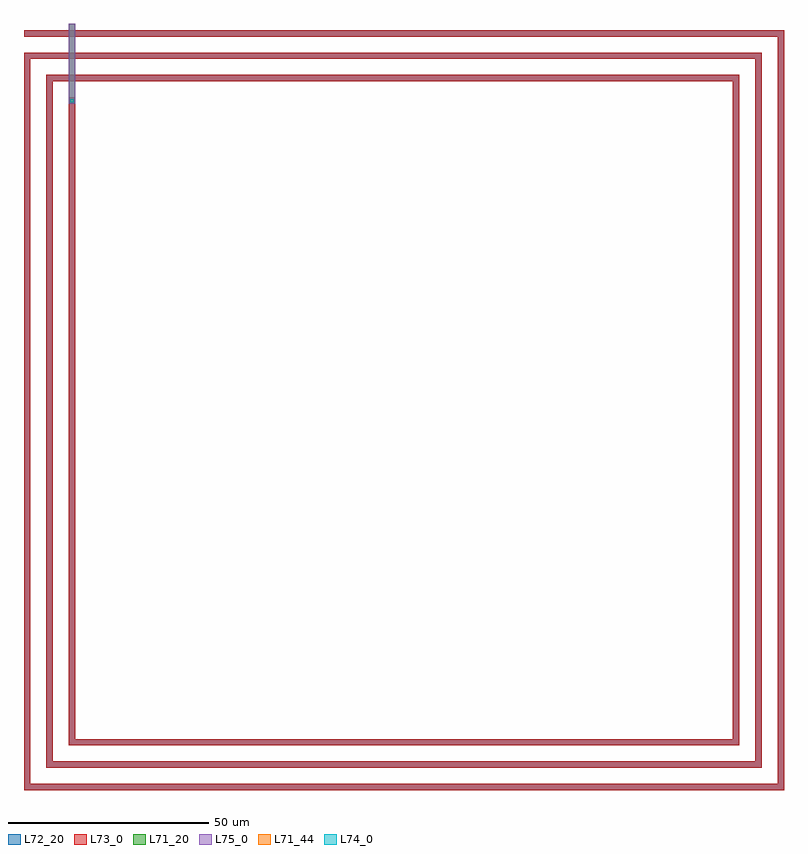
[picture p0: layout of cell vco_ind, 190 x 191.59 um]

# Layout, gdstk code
import gdstk
lib = gdstk.Library(unit=1e-6, precision=1e-09)
def R(c, l, rs):  # rectangles x0, y0, x1, y1
    for r in rs: c.add(gdstk.rectangle(r[:2], r[2:], *l))
def P(c, l, *ps):  # polygons
    for p in ps: c.add(gdstk.Polygon(p, *l))
L71_20 = (71, 20)
L71_44 = (71, 44)
L72_20 = (72, 20)
L73_0 = (73, 0)
L74_0 = (74, 0)
L75_0 = (75, 0)

vco_ind = lib.new_cell('vco_ind')
R(vco_ind, L71_20, [(111.19,271.59,112.79,291.59), (111.19,271.59,112.79,291.59), (111.205,271.59,112.795,273.19), (111.205,271.59,112.795,273.19)])
R(vco_ind, L71_44, [(111.59,271.99,112.39,272.79), (111.59,271.99,112.39,272.79)])
R(vco_ind, L72_20, [(111.205,271.59,112.795,273.19), (111.205,271.59,112.795,273.19)])
P(vco_ind, L72_20, [(100,288.4),(100,290),(290,290),(288.4,288.4)],
  [(290,100),(288.4,101.6),(288.4,288.4),(290,290)],
  [(100,100),(101.6,101.6),(288.4,101.6),(290,100)],
  [(100,100),(100,284.4),(101.6,282.8),(101.6,101.6)],
  [(101.6,282.8),(100,284.4),(284.4,284.4),(282.8,282.8)],
  [(284.4,105.59),(282.8,107.19),(282.8,282.8),(284.4,284.4)],
  [(105.59,105.59),(107.19,107.19),(282.8,107.19),(284.4,105.59)],
  [(105.59,105.59),(105.59,278.8),(107.19,277.19),(107.19,107.19)],
  [(107.2,277.19),(105.59,278.8),(278.8,278.8),(277.19,277.19)],
  [(278.8,111.19),(277.19,112.79),(277.19,277.19),(278.8,278.8)],
  [(111.19,111.19),(112.79,112.79),(277.19,112.79),(278.8,111.19)],
  [(111.19,111.19),(111.19,273.19),(112.79,273.19),(112.79,112.79)],
  [(100,288.4),(100,290),(290,290),(288.4,288.4)],
  [(290,100),(288.4,101.6),(288.4,288.4),(290,290)],
  [(100,100),(101.6,101.6),(288.4,101.6),(290,100)],
  [(100,100),(100,284.4),(101.6,282.8),(101.6,101.6)],
  [(101.6,282.8),(100,284.4),(284.4,284.4),(282.8,282.8)],
  [(284.4,105.59),(282.8,107.19),(282.8,282.8),(284.4,284.4)],
  [(105.59,105.59),(107.19,107.19),(282.8,107.19),(284.4,105.59)],
  [(105.59,105.59),(105.59,278.8),(107.19,277.19),(107.19,107.19)],
  [(107.2,277.19),(105.59,278.8),(278.8,278.8),(277.19,277.19)],
  [(278.8,111.19),(277.19,112.79),(277.19,277.19),(278.8,278.8)],
  [(111.19,111.19),(112.79,112.79),(277.19,112.79),(278.8,111.19)],
  [(111.19,111.19),(111.19,273.19),(112.79,273.19),(112.79,112.79)])
R(vco_ind, L73_0, [(111.205,271.59,112.795,273.19)])
P(vco_ind, L73_0, [(100,288.4),(100,290),(290,290),(288.4,288.4)],
  [(290,100),(288.4,101.6),(288.4,288.4),(290,290)],
  [(100,100),(101.6,101.6),(288.4,101.6),(290,100)],
  [(100,100),(100,284.4),(101.6,282.8),(101.6,101.6)],
  [(101.6,282.8),(100,284.4),(284.4,284.4),(282.8,282.8)],
  [(284.4,105.59),(282.8,107.19),(282.8,282.8),(284.4,284.4)],
  [(105.59,105.59),(107.19,107.19),(282.8,107.19),(284.4,105.59)],
  [(105.59,105.59),(105.59,278.8),(107.19,277.19),(107.19,107.19)],
  [(107.2,277.19),(105.59,278.8),(278.8,278.8),(277.19,277.19)],
  [(278.8,111.19),(277.19,112.79),(277.19,277.19),(278.8,278.8)],
  [(111.19,111.19),(112.79,112.79),(277.19,112.79),(278.8,111.19)],
  [(111.19,111.19),(111.19,273.19),(112.79,273.19),(112.79,112.79)])
R(vco_ind, L74_0, [(111.59,271.99,112.39,272.79)])
R(vco_ind, L75_0, [(111.19,271.59,112.79,291.59), (111.205,271.59,112.795,273.19)])

lib.write_gds('vco_ind.gds')
